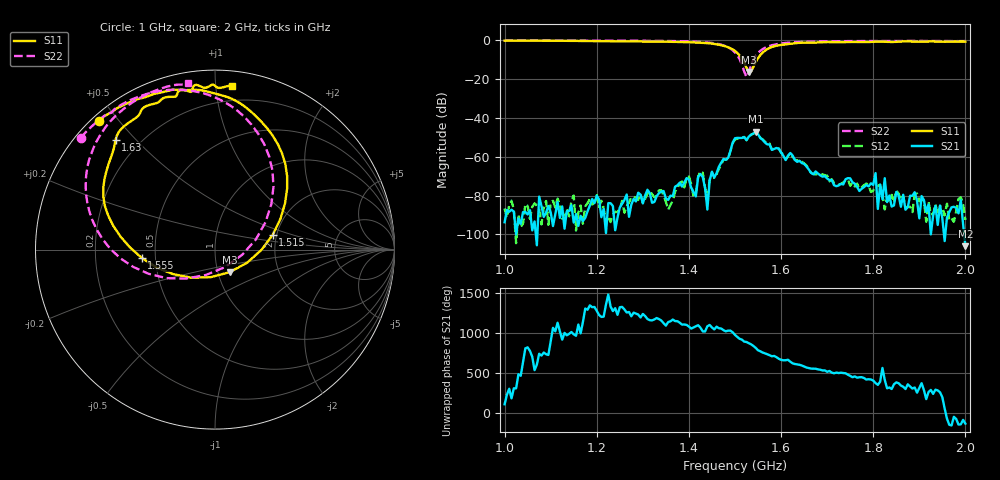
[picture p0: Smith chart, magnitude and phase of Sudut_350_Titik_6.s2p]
# Hz S RI R 50
! CMT, C1220, 16058040, 17.2.0/1
! Date: 14/08/2018 12:25:48
! Data: Format (Calibration Info)
! Freq  S11: Re/Im (F2)  S21: Re/Im (F2)  S12: Re/Im (F2)  S22: Re/Im (F2)
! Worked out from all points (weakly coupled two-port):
!   201 points, 1 GHz to 2 GHz, reference 50 ohm
!   highest |S21| = -47.16 dB at 1.545 GHz (marker M1); lowest = -106.0 dB at 2 GHz (marker M2)
!   lowest |S11| = -16.5 dB at 1.53 GHz (marker M3), VSWR 1.35, Z = 56.9 - j14.6 ohm
!   |S11| at or under -10 dB: 1.516 GHz to 1.548 GHz (32.39 MHz wide, 2.11 % of centre)
!   |S22| runs from -19.0 to -0.2 dB; largest |S21 - S12| = 0.00025
!   S11 on the Smith chart (normalised r, x): 1 GHz: 0.02, +0.44; 1.515 GHz: 1.90, +0.35; 1.555 GHz: 0.42, -0.05; 1.63 GHz: 0.11, +0.44; 2 GHz: 0.10, +1.11
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1e9  -0.6471 0.7148  -8.22e-06 1.89e-05  -1.55e-05 4.39e-05  -0.748 0.6239
1.17e9  -0.4731 0.8222  1.06e-05 1.94e-05  -1.1e-05 -1.53e-05  -0.6116 0.7484
1.335e9  -0.211 0.8895  -1.09e-05 0.000116  3.51e-05 0.000132  -0.3966 0.8619
1.365e9  -0.1212 0.8898  1.1e-06 9.75e-05  -3.96e-05 6.22e-05  -0.3291 0.8795
1.4e9  -0.0314 0.8777  0.000258 1.26e-05  0.00031 -6.5e-06  -0.2227 0.891
1.41e9  0.00814 0.8673  0.000123 -1.82e-05  9.39e-05 -1.42e-05  -0.1838 0.8901
1.425e9  0.0749 0.8478  0.000351 -7.46e-05  0.000411 -0.000112  -0.1162 0.8822
1.44e9  0.1344 0.8184  4.37e-05 3.86e-06  8.4e-05 2.57e-05  -0.0375 0.8624
1.45e9  0.1779 0.7876  0.000407 -6.36e-05  0.000395 -5.06e-05  0.0243 0.837
1.5e9  0.4018 0.3373  -0.000611 -0.00292  -0.000557 -0.00271  0.3258 0.3508
1.515e9  0.3213 0.0823  -0.00285 -0.001  -0.00279 -0.00112  0.2279 0.0569
1.53e9  0.082 -0.1256  -0.003 0.00136  -0.003 0.00136  -0.0507 -0.1414
1.545e9  -0.2325 -0.1368  -0.000496 0.00436  -0.000579 0.00427  -0.3697 -0.1348
1.555e9  -0.4086 -0.046  0.00178 0.00243  0.00171 0.00254  -0.5251 -0.05
1.63e9  -0.5536 0.6133  -0.000206 -0.000798  -0.00015 -0.000816  -0.686 0.5431
1.67e9  -0.4379 0.7362  -0.000336 -0.000108  -0.000333 -0.00013  -0.6182 0.6705
1.77e9  -0.2417 0.851  -1.53e-06 0.000131  4.52e-06 0.000149  -0.4623 0.8187
1.805e9  -0.2005 0.8851  0.00036 0.000119  0.000169 3.72e-05  -0.4118 0.8491
1.81e9  -0.1927 0.8897  4.54e-05 -3.4e-06  0.000175 -8.41e-06  -0.4052 0.8529
1.825e9  -0.161 0.8865  0.000149 0.000236  4.34e-05 6.5e-06  -0.3849 0.8626
1.835e9  -0.1406 0.8792  8.04e-05 -6.04e-05  7.01e-05 -5.33e-06  -0.3717 0.8692
2e9  0.0962 0.9088  -3.07e-06 -3.95e-06  2.37e-05 2.31e-06  -0.1494 0.9277
